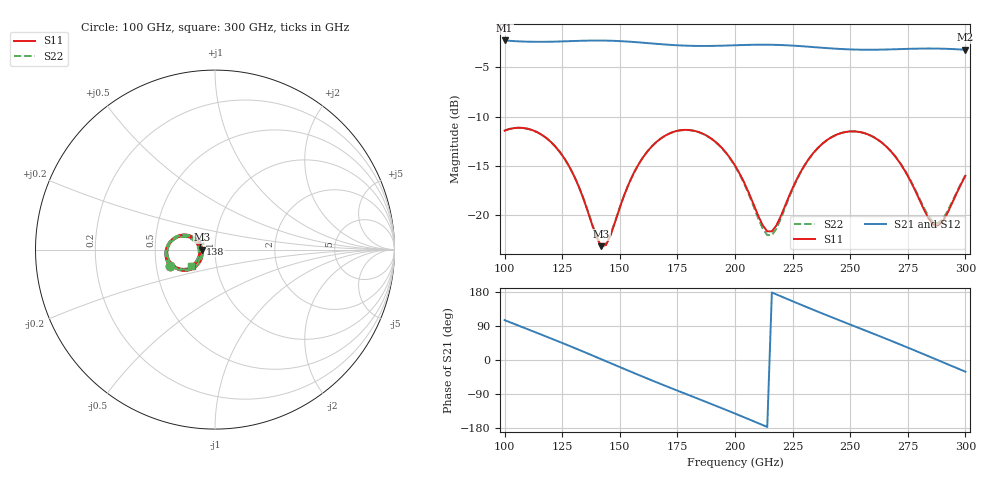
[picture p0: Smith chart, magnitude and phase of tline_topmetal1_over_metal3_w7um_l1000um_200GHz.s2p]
#  GHZ S DB R 50
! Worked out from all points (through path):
!   101 points, 100 GHz to 300 GHz, reference 50 ohm
!   highest |S21| = -2.27 dB at 100 GHz (marker M1); lowest = -3.2 dB at 300 GHz (marker M2)
!   group delay of S21, straight-line fit = 6.89 ps
!   lowest |S11| = -23.1 dB at 142 GHz (marker M3), VSWR 1.15, Z = 43.5 - j0.00156 ohm
!   |S11| at or under -10 dB: start of sweep to end of sweep
!   |S22| runs from -23.0 to -11.1 dB; largest |S21 - S12| = 0
!   S11 on the Smith chart (normalised r, x): 100 GHz: 0.59, -0.12; 138 GHz: 0.85, +0.06; 300 GHz: 0.76, -0.14
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100  -11.41 -160.0  -2.27 105.3  -2.27 105.3  -11.41 -159.9
116  -11.82 170.0  -2.40 66.9  -2.40 66.9  -11.81 170.2
126  -14.26 154.2  -2.35 42.5  -2.35 42.5  -14.23 154.5
134  -18.18 149.8  -2.29 22.5  -2.29 22.5  -18.13 150.2
138  -20.98 157.4  -2.28 12.3  -2.28 12.3  -20.87 157.7
142  -23.13 -180.0  -2.28 2.0  -2.28 2.0  -22.98 179.9
146  -22.04 -152.4  -2.29 -8.3  -2.29 -8.3  -21.93 -153.0
154  -16.75 -137.8  -2.39 -28.8  -2.39 -28.8  -16.73 -138.3
168  -12.17 -155.2  -2.65 -63.8  -2.65 -63.8  -12.17 -155.6
184  -11.53 177.1  -2.82 -102.4  -2.82 -102.4  -11.55 176.6
200  -14.94 154.6  -2.75 -141.3  -2.75 -141.3  -15.01 153.7
212  -21.00 168.7  -2.70 -171.6  -2.70 -171.6  -21.33 168.0
216  -21.63 -169.4  -2.70 178.1  -2.70 178.1  -22.01 -168.7
224  -17.76 -143.9  -2.77 157.6  -2.77 157.6  -17.89 -142.4
234  -13.68 -148.8  -2.94 132.4  -2.94 132.4  -13.71 -147.7
250  -11.49 -173.2  -3.17 93.5  -3.17 93.5  -11.49 -172.3
258  -11.82 173.9  -3.21 74.3  -3.21 74.3  -11.81 174.7
268  -13.60 159.8  -3.17 50.1  -3.17 50.1  -13.56 160.8
278  -17.39 155.3  -3.10 25.2  -3.10 25.2  -17.28 156.4
286  -20.93 177.1  -3.09 4.9  -3.09 4.9  -20.69 177.7
290  -20.66 -163.2  -3.10 -5.4  -3.10 -5.4  -20.44 -163.4
300  -16.00 -145.5  -3.21 -30.8  -3.21 -30.8  -15.94 -146.0
